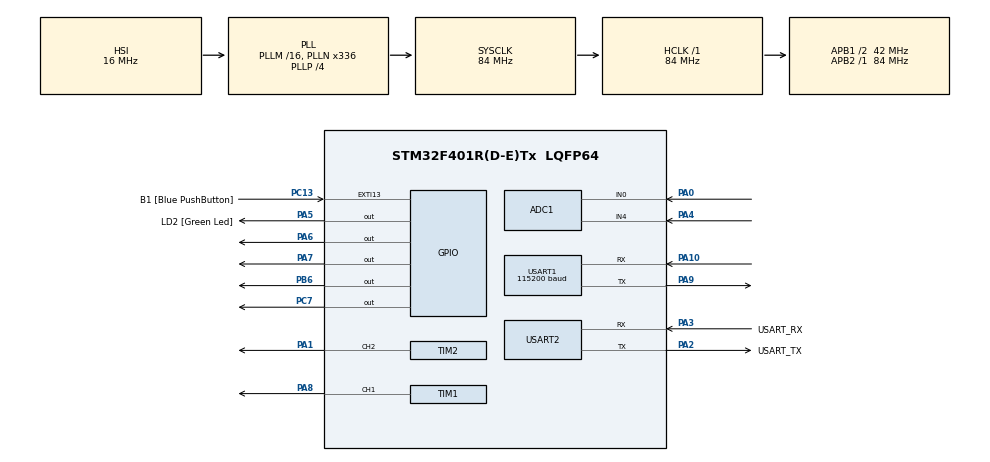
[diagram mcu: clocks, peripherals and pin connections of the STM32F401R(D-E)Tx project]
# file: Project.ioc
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ADC1.Channel-0\#ChannelRegularConversion=ADC_CHANNEL_4
ADC1.Channel-1\#ChannelRegularConversion=ADC_CHANNEL_0
ADC1.ContinuousConvMode=ENABLE
ADC1.ExternalTrigConv=ADC_EXTERNALTRIGCONV_T1_CC1
ADC1.NbrOfConversion=2
ADC1.NbrOfConversionFlag=1
ADC1.Rank-0\#ChannelRegularConversion=1
ADC1.Rank-1\#ChannelRegularConversion=2
ADC1.SamplingTime-0\#ChannelRegularConversion=ADC_SAMPLETIME_15CYCLES
ADC1.SamplingTime-1\#ChannelRegularConversion=ADC_SAMPLETIME_144CYCLES
ADC1.ScanConvMode=ENABLE
ADC1.master=1
Dma.ADC1.0.Direction=DMA_PERIPH_TO_MEMORY
Dma.ADC1.0.FIFOMode=DMA_FIFOMODE_DISABLE
Dma.ADC1.0.Instance=DMA2_Stream0
Dma.ADC1.0.MemDataAlignment=DMA_MDATAALIGN_WORD
Dma.ADC1.0.MemInc=DMA_MINC_ENABLE
Dma.ADC1.0.Mode=DMA_CIRCULAR
Dma.ADC1.0.PeriphDataAlignment=DMA_PDATAALIGN_WORD
Dma.ADC1.0.PeriphInc=DMA_PINC_DISABLE
Dma.ADC1.0.Priority=DMA_PRIORITY_LOW
Dma.Request0=ADC1
Mcu.Family=STM32F4
Mcu.Name=STM32F401R(D-E)Tx
Mcu.Package=LQFP64
NVIC.ADC_IRQn=true\:0\:0\:false\:false\:true\:true\:true\:true
NVIC.DMA2_Stream0_IRQn=true\:0\:0\:false\:false\:true\:false\:true\:true
NVIC.EXTI15_10_IRQn=true\:0\:0\:false\:false\:true\:true\:true\:true
NVIC.PriorityGroup=NVIC_PRIORITYGROUP_4
NVIC.TIM1_BRK_TIM9_IRQn=true\:0\:0\:false\:false\:true\:true\:true\:true
NVIC.TIM1_CC_IRQn=true\:0\:0\:false\:false\:true\:true\:true\:true
NVIC.TIM1_TRG_COM_TIM11_IRQn=true\:0\:0\:false\:false\:true\:true\:true\:true
NVIC.TIM1_UP_TIM10_IRQn=true\:0\:0\:false\:false\:true\:true\:true\:true
PA0-WKUP.Signal=ADCx_IN0
PA1.Signal=S_TIM2_CH2
PA10.Mode=Asynchronous
PA10.Signal=USART1_RX
PA13.GPIO_Label=TMS
PA13.Mode=Trace_Asynchronous_SW
PA13.Signal=SYS_JTMS-SWDIO
PA14.GPIO_Label=TCK
PA14.Mode=Trace_Asynchronous_SW
PA14.Signal=SYS_JTCK-SWCLK
PA2.GPIO_Label=USART_TX
PA2.GPIO_Mode=GPIO_MODE_AF_PP
PA2.GPIO_PuPd=GPIO_NOPULL
PA2.GPIO_Speed=GPIO_SPEED_FREQ_LOW
PA2.Mode=Asynchronous
PA2.Signal=USART2_TX
PA3.GPIO_Label=USART_RX
PA3.GPIO_Mode=GPIO_MODE_AF_PP
PA3.GPIO_PuPd=GPIO_NOPULL
PA3.GPIO_Speed=GPIO_SPEED_FREQ_LOW
PA3.Mode=Asynchronous
PA3.Signal=USART2_RX
PA4.Signal=ADCx_IN4
PA5.GPIO_Label=LD2 [Green Led]
PA5.GPIO_Mode=GPIO_MODE_OUTPUT_PP
PA5.GPIO_PuPd=GPIO_NOPULL
PA5.GPIO_Speed=GPIO_SPEED_FREQ_LOW
PA5.Signal=GPIO_Output
PA6.Signal=GPIO_Output
PA7.Signal=GPIO_Output
PA8.Signal=S_TIM1_CH1
PA9.Mode=Asynchronous
PA9.Signal=USART1_TX
PB3.GPIO_Label=SWO
PB3.Mode=Trace_Asynchronous_SW
PB3.Signal=SYS_JTDO-SWO
PB6.Signal=GPIO_Output
PC13-ANTI_TAMP.GPIO_Label=B1 [Blue PushButton]
PC13-ANTI_TAMP.GPIO_ModeDefaultEXTI=GPIO_MODE_IT_FALLING
PC13-ANTI_TAMP.GPIO_PuPd=GPIO_NOPULL
PC13-ANTI_TAMP.Signal=GPXTI13
PC14-OSC32_IN.Mode=LSE-External-Oscillator
PC14-OSC32_IN.Signal=RCC_OSC32_IN
PC15-OSC32_OUT.Mode=LSE-External-Oscillator
PC15-OSC32_OUT.Signal=RCC_OSC32_OUT
PC7.Signal=GPIO_Output
PH0\ -\ OSC_IN.Mode=HSE-External-Clock-Source
PH0\ -\ OSC_IN.Signal=RCC_OSC_IN
PH1\ -\ OSC_OUT.Mode=HSE-External-Clock-Source
PH1\ -\ OSC_OUT.Signal=RCC_OSC_OUT
ProjectManager.HeapSize=0x200
ProjectManager.StackSize=0x400
ProjectManager.TargetToolchain=STM32CubeIDE
RCC.48MHZClocksFreq_Value=48000000
RCC.AHBFreq_Value=84000000
RCC.APB1CLKDivider=RCC_HCLK_DIV2
RCC.APB1Freq_Value=42000000
RCC.APB1TimFreq_Value=84000000
RCC.APB2Freq_Value=84000000
RCC.APB2TimFreq_Value=84000000
RCC.CortexFreq_Value=84000000
RCC.HCLKFreq_Value=84000000
RCC.HSE_VALUE=8000000
RCC.HSI_VALUE=16000000
RCC.PLLN=336
RCC.PLLP=RCC_PLLP_DIV4
RCC.PLLQ=7
RCC.SYSCLKFreq_VALUE=84000000
RCC.SYSCLKSource=RCC_SYSCLKSOURCE_PLLCLK
RCC.VCOOutputFreq_Value=336000000
SH.ADCx_IN0.0=ADC1_IN0,IN0
SH.ADCx_IN4.0=ADC1_IN4,IN4
SH.S_TIM1_CH1.0=TIM1_CH1,Output Compare1 CH1
SH.S_TIM2_CH2.0=TIM2_CH2,PWM Generation2 CH2
TIM1.Channel-Output\ Compare1\ CH1=TIM_CHANNEL_1
TIM1.OCMode_1=TIM_OCMODE_TOGGLE
TIM1.Period=99
TIM1.Prescaler=839
TIM1.Pulse-Output\ Compare1\ CH1=1
TIM2.Channel-PWM\ Generation2\ CH2=TIM_CHANNEL_2
TIM2.Period=99
TIM2.Prescaler=839
USART1.BaudRate=115200
USART1.VirtualMode=VM_ASYNC
USART2.VirtualMode=VM_ASYNC
VP_TIM1_VS_ClockSourceINT.Mode=Internal
VP_TIM2_VS_ClockSourceINT.Mode=Internal
board=NUCLEO-F401RE

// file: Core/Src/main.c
/* USER CODE BEGIN Header */
/**
 ******************************************************************************
 * @file           : main.c
 * @brief          : Main program body
 ******************************************************************************
 * @attention
 *
 * Copyright (c) 2025 STMicroelectronics.
 * All rights reserved.
 *
 * This software is licensed under terms that can be found in the LICENSE file
 * in the root directory of this software component.
 * If no LICENSE file comes with this software, it is provided AS-IS.
 *
 ******************************************************************************
 */
/* USER CODE END Header */
#include "main.h"

/* USER CODE BEGIN PTD */
typedef enum
{
  STATE_IDLE,       // รอการกดปุ่ม (วัดหัวใจ CH1)
  STATE_RECORDING,  // กำลังรับเสียง (วัดไมค์ CH2)
  STATE_PROCESSING, // จำลองการประมวลผล
  STATE_RESULT      // แสดงผลลัพธ์
} SystemState_t;
/* USER CODE END PTD */

ADC_HandleTypeDef hadc1;
DMA_HandleTypeDef hdma_adc1;

TIM_HandleTypeDef htim1;
TIM_HandleTypeDef htim2;

UART_HandleTypeDef huart1;
UART_HandleTypeDef huart2;

/* USER CODE BEGIN PV */
volatile SystemState_t currentState = STATE_IDLE;
static char uart_buf[64];
static uint32_t t_ms = 0;

// --- DMA BUFFER ---
// [0] = Microphone, [1] = Heartbeat
uint32_t adc_buffer[2];

// --- MICROPHONE VARIABLES ---
uint32_t mic_max = 0;
uint32_t mic_min = 4095;
uint32_t mic_val = 0;       // The final "Volume" value
uint32_t mic_last_reset = 0; // Timer for the 50ms window
int flag = 0;

// --- TALK DETECTION SETTINGS ---
#define MIC_THRESHOLD  500   // Volume above this = Talking (Tune this!)
#define HANG_TIME_MS   7000  // How long to wait before deciding speech stopped

// --- TALK DETECTION VARIABLES ---
uint8_t is_talking = 0;       // The final output: 1 = Talking, 0 = Quiet
uint32_t silence_timer = 0;   // Timer to track silence

/* ===== BPM Variables ===== */
static float dc = 0.0f; // DC tracker
static float y = 0.0f;  // ค่ากรองแล้ว (filt)
static float y_prev = 0.0f;
static float thr_ema = 0.0f;   // ฐานสำหรับคำนวณ threshold
static uint8_t peak_armed = 0; // เข้าโซนเหนือ threshold แล้ว รอหล่นข้าม low-threshold เพื่อนับ
static uint8_t refractory = 0; // กันเด้ง
static uint32_t ref_start_ms = 0;
static uint32_t last_peak_ms = 0;
static float bpm = 0.0f;

/* ===== Statistics Variables ===== */
float bpm_buffer[30]; // Circular buffer สำหรับ Baseline
int bpm_idx = 0;
int bpm_count_base = 0;

float baseline_mean = 0.0f; // u
float baseline_std = 0.0f;  // sigma

float response_sum = 0.0f;  // ผลรวม BPM ตอน Recording
int response_count = 0;     // n

/* ===== Other Config ===== */
#define ALPHA_DC 0.01f
#define ALPHA_LP 0.75f

#define THR_SCALE_HI 0.90f // threshold บน (เข้มขึ้นเพื่อลดนับซ้ำ)
#define THR_SCALE_LO 0.40f // threshold ล่าง = สัดส่วนของ threshold บน
#define REFRACT_MS 450     // กันเด้ง 300ms
#define IBI_MIN_MS 350     // 60000/171BPM ~ 350ms  (กัน BPM สูงเกิน)
#define IBI_MAX_MS 2000    // 30 BPM

#define BPM_SMOOTH_A 0.85f // smooth: bpm = A*bpm + (1-A)*bpm_raw
#define BUZZER_VOLUME 0.5f //[0.01-0.001]

#define NOTE_B3 247
#define NOTE_C4 700
#define TIM_FREQ 60000000
static volatile uint8_t beep_req = 0;    // ขอให้บี๊บ 1 ครั้ง
static volatile uint32_t beep_until = 0; // เวลาที่จะหยุดบี๊บ
#define BEEP_MS 60
int now = 0;
int prev = 0; // ระยะเวลาบี๊บ 60ms
/* USER CODE END PV */

void SystemClock_Config(void);
static void MX_GPIO_Init(void);
static void MX_DMA_Init(void);
static void MX_USART2_UART_Init(void);
static void MX_ADC1_Init(void);
static void MX_TIM1_Init(void);
static void MX_TIM2_Init(void);
static void MX_USART1_UART_Init(void);
/* USER CODE BEGIN PFP */
int Read_Mic_Polling(void);
/* USER CODE END PFP */

/* USER CODE BEGIN 0 */
// char rx_data[1] = 'A';
char state_str[20] = "idle"; // ตั้งค่าเริ่มต้นกันเหนียว
void Update_State_String(SystemState_t state){
	switch(state)
	    {
	        case STATE_IDLE:       sprintf(state_str, "IDLE");       break;
	        case STATE_RECORDING:  sprintf(state_str, "RECORDING");  break;
	        case STATE_PROCESSING: sprintf(state_str, "PROCESSING"); break;
	        case STATE_RESULT:     sprintf(state_str, "RESULT");     break;
	        default:               sprintf(state_str, "UNKNOWN");    break;
	    }
}

int presForFrequency(int frequency)
{
  if (frequency <= 0)
    return 0;
  /* PSC = TIM_FREQ / ((ARR+1) * f) - 1 */
  return (int)((TIM_FREQ / ((uint64_t)(htim1.Init.Period + 1) * (uint64_t)frequency)) - 1);
}
void Calculate_Baseline(void)
{
    if (bpm_count_base < 2) {
        baseline_mean = 80.0f; // ค่า Default กัน Error
        baseline_std = 5.0f;
        return;
    }

    // Mean (u)
    float sum = 0.0f;
    for(int i=0; i<bpm_count_base; i++) {
    	sum += bpm_buffer[i];
    }
    baseline_mean = sum / bpm_count_base;

    // StdDev (sigma)
    float sum_sq = 0.0f;
    for(int i=0; i<bpm_count_base; i++) {
        float diff = bpm_buffer[i] - baseline_mean;
        sum_sq += diff * diff;
    }
    baseline_std = sqrt(sum_sq / bpm_count_base);

    if(baseline_std == 0) baseline_std = 1.0f;
}

void HAL_GPIO_EXTI_Callback(uint16_t GPIO_Pin)
{
  now = HAL_GetTick();
  if (now - prev >= 50)
  {
    prev = now;
    if (currentState == STATE_IDLE)
    {

      Calculate_Baseline();
      currentState = STATE_RECORDING;
    }

  }
}

void HAL_ADC_ConvCpltCallback(ADC_HandleTypeDef *hadc)
{
  if (hadc->Instance != ADC1) return;

  // อ่านค่า ADC จาก DMA Buffer
  // เราอ่านมารอไว้ก่อน แต่จะยังไม่คำนวณถ้าเวลายังไม่ถึง
  uint16_t raw_mic = (uint16_t)adc_buffer[0];
  uint16_t raw_heart = (uint16_t)adc_buffer[1];

  t_ms = HAL_GetTick();

  // ============================================================
  // [FIX] LIMIT CALCULATION RATE TO ~100Hz (Every 10ms)
  // ============================================================
  static uint32_t last_dsp_time = 0;

  // ถ้าผ่านไปไม่ถึง 10ms ให้ข้ามการคำนวณไปเลย (เพื่อลดความเร็ว Loop)
  if (t_ms - last_dsp_time < 10)
  {
      return;
  }
  last_dsp_time = t_ms; // อัปเดตเวลาล่าสุดที่คำนวณ

  // --- จากจุดนี้ไปคือ Code เดิมของคุณ ---
  // พอเราจำกัดเวลาเข้า Loop นี้ให้เหลือ 10ms ต่อครั้ง
  // สูตร ALPHA_DC และ ALPHA_LP ของคุณจะกลับมาทำงานได้ถูกต้องทันทีครับ

  // ==========================================
  // PART A: MICROPHONE LOGIC (Talking Detect)
  // ==========================================

  // 1. Update Min/Max
  if (raw_mic > mic_max) mic_max = raw_mic;
  if (raw_mic < mic_min) mic_min = raw_mic;

  // 2. Every 50ms check the volume
  // (Logic เดิมของคุณตรงนี้โอเคแล้ว แต่มันจะทำงานแม่นขึ้นเพราะ Loop นิ่งขึ้น)
  if (t_ms - mic_last_reset > 50)
  {
    mic_val = mic_max - mic_min;
    if(currentState == STATE_RECORDING ){
    	if (mic_val > MIC_THRESHOLD)
    	    {
    	      is_talking = 1;
    	      silence_timer = t_ms;
    	      flag = 1;
    	    }
    	else
    	    {
    	      if (t_ms - silence_timer > HANG_TIME_MS && flag != 0)
				  {
					is_talking = 0;
					flag = 0;
					currentState = STATE_PROCESSING;
				  }
    	    }
    }

    mic_max = 0;
    mic_min = 4095;
    mic_last_reset = t_ms;
  }

  // ==========================================
  // PART B: HEARTBEAT LOGIC
  // ==========================================

    float rawf = (float)raw_heart;
    float err = rawf - dc;
    dc += ALPHA_DC * err;
    float sig = rawf - dc;
    y += ALPHA_LP * (sig - y);

    float ay = (y >= 0) ? y : -y;
    thr_ema = 0.995f * thr_ema + 0.005f * ay;

    float thr_hi = THR_SCALE_HI * thr_ema;
    float thr_lo = THR_SCALE_LO * thr_hi;

    if (refractory && (t_ms - ref_start_ms) > REFRACT_MS)
    {
      refractory = 0;
    }

    float dy = y - y_prev;

    if (!refractory)
    {
      if (!peak_armed)
      {
        if (y > thr_hi)
        {
          peak_armed = 1;
        }
      }
      else
      {
        if (y < thr_lo && dy < 0.0f)
        {
          uint32_t now = t_ms;
          if (last_peak_ms != 0)
          {
            uint32_t ibi = now - last_peak_ms;

            // [OPTIONAL] ปรับช่วง IBI ให้กว้างขึ้นนิดหน่อยเผื่อหัวใจเต้นเร็ว/ช้าผิดปกติ
            if (ibi >= 300 && ibi <= 2000)
            {
              float bpm_raw = 60000.0f / (float)ibi;
              bpm = BPM_SMOOTH_A * bpm + (1.0f - BPM_SMOOTH_A) * bpm_raw;

              if (currentState == STATE_IDLE)
              {
                  bpm_buffer[bpm_idx] = bpm;
                  bpm_idx = (bpm_idx + 1) % 30;
                  if(bpm_count_base < 30) bpm_count_base++;
               }
               // อย่าลืม Logic นับ Response ใน State Recording
               else if (currentState == STATE_RECORDING)
               {
                  response_sum += bpm;
                  response_count++;
               }
            }
          }
          last_peak_ms = now;

          beep_req = 1;
          beep_until = t_ms + BEEP_MS;

          refractory = 1;
          ref_start_ms = now;
          peak_armed = 0;
        }
      }
    }

    y_prev = y;

    // ส่ง UART ทุกครั้งที่คำนวณเสร็จ (ซึ่งตอนนี้คือทุก 10ms = 100Hz พอดี ไม่รกเกินไป)
//    int n = snprintf(uart_buf, sizeof(uart_buf),
//                       "%lu,%u,%s,%.1f,%lu,%u\r\n",
//                       t_ms, raw_heart, state_str, bpm, mic_val, is_talking);
//
    int n = snprintf(uart_buf, sizeof(uart_buf),"%s,%d,%.1f,%d\r\n",state_str,-1,bpm, is_talking);
    HAL_UART_Transmit(&huart2, (uint8_t *)uart_buf, n, 10);
    HAL_UART_Transmit(&huart1, (uint8_t *)uart_buf, n, 10); // ปิดอันนี้ถ้าไม่ได้ใช้ จะได้ไม่หน่วง
}
/* USER CODE END 0 */

int main(void)
{

  /* MCU Configuration--------------------------------------------------------*/

  /* Reset of all peripherals, Initializes the Flash interface and the Systick. */
  HAL_Init();

  /* USER CODE BEGIN Init */
  int state_timer = 0;
  /* USER CODE END Init */

  /* Configure the system clock */
  SystemClock_Config();

  /* Initialize all configured peripherals */
  MX_GPIO_Init();
  MX_DMA_Init();
  MX_USART2_UART_Init();
  MX_ADC1_Init();
  MX_TIM1_Init();
  MX_TIM2_Init();
  MX_USART1_UART_Init();
  /* USER CODE BEGIN 2 */
  HAL_TIM_Base_Start_IT(&htim1);
//  HAL_ADC_Start_IT(&hadc1);
  HAL_TIM_OC_Start_IT(&htim1, TIM_CHANNEL_1);
  HAL_TIM_PWM_Start(&htim2, TIM_CHANNEL_2);
  __HAL_TIM_SET_COMPARE(&htim2, TIM_CHANNEL_2, (uint32_t)(htim2.Init.Period * BUZZER_VOLUME));

  if (HAL_ADC_Start_DMA(&hadc1, adc_buffer, 2) != HAL_OK)
  {
      // If this fails, blink LED rapidly to warn user
      while(1) {
          HAL_GPIO_TogglePin(LD2_GPIO_Port, LD2_Pin);
          HAL_Delay(100);
      }
  }

  printf("System Initialized.\r\n");
  printf("Current State: IDLE. Press Blue Button to Record.\r\n");

  /* USER CODE END 2 */

  /* Infinite loop */
  while (1)
  {

    /* USER CODE BEGIN 3 */
	  switch(currentState)
	  	    {
	  	        case STATE_IDLE:       sprintf(state_str, "idle");       break;
	  	        case STATE_RECORDING:  sprintf(state_str, "recording");  break;
	  	        case STATE_PROCESSING: sprintf(state_str, "processing"); break;
	  	        case STATE_RESULT:     sprintf(state_str, "result");     break;
	  	        default:               sprintf(state_str, "default");    break;
	  	    }
    uint32_t now = HAL_GetTick();
    if (beep_req)
        {
          if (now < beep_until)
          {
            // 1. ตั้งความถี่
            __HAL_TIM_SET_PRESCALER(&htim2, presForFrequency(500));
            __HAL_TIM_SET_COUNTER(&htim2, 0);
            HAL_Delay(10);

            // 2. [เพิ่ม] เปิดเสียง (Volume 50%)
          }
          else
          {
            // 1. [สำคัญ] ปิดเสียง (Volume 0%)
        	__HAL_TIM_SET_PRESCALER(&htim2, presForFrequency(0));
        	__HAL_TIM_SET_COUNTER(&htim2, 0);

            beep_req = 0;
          }
        }
    switch (currentState)
    {
    /* --- STATE 1: IDLE (วัดหัวใจทำงานอยู่เบื้องหลัง) --- */
      case STATE_IDLE:
    	  HAL_GPIO_WritePin(GPIOA, GPIO_PIN_7, GPIO_PIN_RESET);
    	  HAL_GPIO_WritePin(GPIOA, GPIO_PIN_6, GPIO_PIN_RESET);
    	  HAL_GPIO_WritePin(GPIOB, GPIO_PIN_6, GPIO_PIN_RESET); // ปิดไฟ Recording

    	  // เปิดไฟ Idle
    	  HAL_GPIO_WritePin(GPIOC, GPIO_PIN_7, GPIO_PIN_SET);

        break;

      /* --- STATE 2: RECORDING (วัดไมค์ IN2) --- */
      case STATE_RECORDING:
    	  HAL_GPIO_WritePin(GPIOC, GPIO_PIN_7, GPIO_PIN_RESET); // ดับไฟ Idle
    	  HAL_GPIO_WritePin(GPIOB, GPIO_PIN_6, GPIO_PIN_SET);   // ติดไฟ Talking
    	  break;

      case STATE_PROCESSING:
    	HAL_ADC_Stop_DMA(&hadc1);
    	HAL_GPIO_WritePin(GPIOB, GPIO_PIN_6, GPIO_PIN_RESET);
    	HAL_GPIO_WritePin(GPIOA, GPIO_PIN_7, GPIO_PIN_SET);
    	int n = snprintf(uart_buf, sizeof(uart_buf),"%s,%d,%.1f,%d\r\n", state_str,-1,0.0,0);
    	HAL_UART_Transmit(&huart2, (uint8_t *)uart_buf, n, 10);
    	HAL_UART_Transmit(&huart1, (uint8_t *)uart_buf, n, 10); // ปิดอันนี้ถ้าไม่ได้ใช้ จะได้ไม่หน่วง
    	HAL_Delay(100);
        if (state_timer == 0)
        {
          state_timer = now; // เริ่มจับเวลา
          // เริ่ม Interrupt วัดหัวใจ
//          HAL_ADC_Start_IT(&hadc1);
          // ไฟกระพริบถี่ๆ บอกสถานะ Processing
          HAL_GPIO_WritePin(LD2_GPIO_Port, LD2_Pin, GPIO_PIN_SET);

        }

        // 2. รอจนครบ 10 วินาที (แบบไม่บล็อกโปรแกรมอื่น)
        if (now - state_timer > 10000)
        {
          // ครบ 10 วิ -> หยุดวัดหัวใจ
//          HAL_ADC_Stop_IT(&hadc1);

          // รีเซ็ต timer สำหรับรอบหน้า
          state_timer = 0;

          // ไปหน้าแสดงผล
          currentState = STATE_RESULT;
        }
        break;
      case STATE_RESULT:
      HAL_GPIO_WritePin(GPIOA, GPIO_PIN_7, GPIO_PIN_RESET);
      HAL_GPIO_WritePin(GPIOA, GPIO_PIN_6, GPIO_PIN_SET);

      float response_mean = 0;
    	if(response_count > 0){
    		response_mean = response_sum / response_count;
    	}

    	// Standard Error
    	float std_error = baseline_std / sqrt((float)response_count);
    	if(std_error == 0) {
    		std_error = 0.001f;
    	}

    	// Z-Score
    	float z_score = (response_mean - baseline_mean) / std_error;
    	if (z_score > 1.645f){
    		int n = snprintf(uart_buf, sizeof(uart_buf),"%s,%d,%.1f,%d\r\n", state_str,0,0.0,0);
    		HAL_UART_Transmit(&huart1, (uint8_t *)uart_buf, n, 10); // ปิดอันนี้ถ้าไม่ได้ใช้ จะได้ไม่หน่วง
//    		HAL_UART_Transmit(&huart2, (uint8_t *)uart_buf, n, 10);

    		__HAL_TIM_SET_PRESCALER(&htim2, presForFrequency(1000));
    		__HAL_TIM_SET_COUNTER(&htim2, 0);
    		HAL_Delay(1000);
    		__HAL_TIM_SET_PRESCALER(&htim2, presForFrequency(0));
    		__HAL_TIM_SET_COUNTER(&htim2, 0);
    		HAL_Delay(1000);
    		__HAL_TIM_SET_PRESCALER(&htim2, presForFrequency(1000));
    		__HAL_TIM_SET_COUNTER(&htim2, 0);
    		HAL_Delay(1000);
    		__HAL_TIM_SET_PRESCALER(&htim2, presForFrequency(0));
    		__HAL_TIM_SET_COUNTER(&htim2, 0);

    	}
    	else{
    		int n = snprintf(uart_buf, sizeof(uart_buf),"%s,%d,%.1f,%d\r\n", state_str,1,0.0,0);
//    		HAL_UART_Transmit(&huart2, (uint8_t *)uart_buf, n, 10);
    		HAL_UART_Transmit(&huart1, (uint8_t *)uart_buf, n, 10); // ปิดอันนี้ถ้าไม่ได้ใช้ จะได้ไม่หน่วง
    		__HAL_TIM_SET_PRESCALER(&htim2, presForFrequency(250));
    		__HAL_TIM_SET_COUNTER(&htim2, 0);
    		HAL_Delay(1000);
    		__HAL_TIM_SET_PRESCALER(&htim2, presForFrequency(0));
    		__HAL_TIM_SET_COUNTER(&htim2, 0);
    		HAL_Delay(1000);

    	}
    	HAL_Delay(5000);

    	HAL_ADC_Start_DMA(&hadc1, adc_buffer, 2);
        currentState = STATE_IDLE;
      }
  }
  /* USER CODE END 3 */
}

void SystemClock_Config(void)
{
  RCC_OscInitTypeDef RCC_OscInitStruct = {0};
  RCC_ClkInitTypeDef RCC_ClkInitStruct = {0};

  /** Configure the main internal regulator output voltage
  */
  __HAL_RCC_PWR_CLK_ENABLE();
  __HAL_PWR_VOLTAGESCALING_CONFIG(PWR_REGULATOR_VOLTAGE_SCALE2);

  /** Initializes the RCC Oscillators according to the specified parameters
  * in the RCC_OscInitTypeDef structure.
  */
  RCC_OscInitStruct.OscillatorType = RCC_OSCILLATORTYPE_HSI;
  RCC_OscInitStruct.HSIState = RCC_HSI_ON;
  RCC_OscInitStruct.HSICalibrationValue = RCC_HSICALIBRATION_DEFAULT;
  RCC_OscInitStruct.PLL.PLLState = RCC_PLL_ON;
  RCC_OscInitStruct.PLL.PLLSource = RCC_PLLSOURCE_HSI;
  RCC_OscInitStruct.PLL.PLLM = 16;
  RCC_OscInitStruct.PLL.PLLN = 336;
  RCC_OscInitStruct.PLL.PLLP = RCC_PLLP_DIV4;
  RCC_OscInitStruct.PLL.PLLQ = 7;
  if (HAL_RCC_OscConfig(&RCC_OscInitStruct) != HAL_OK)
  {
    Error_Handler();
  }

  /** Initializes the CPU, AHB and APB buses clocks
  */
  RCC_ClkInitStruct.ClockType = RCC_CLOCKTYPE_HCLK|RCC_CLOCKTYPE_SYSCLK
                              |RCC_CLOCKTYPE_PCLK1|RCC_CLOCKTYPE_PCLK2;
  RCC_ClkInitStruct.SYSCLKSource = RCC_SYSCLKSOURCE_PLLCLK;
  RCC_ClkInitStruct.AHBCLKDivider = RCC_SYSCLK_DIV1;
  RCC_ClkInitStruct.APB1CLKDivider = RCC_HCLK_DIV2;
  RCC_ClkInitStruct.APB2CLKDivider = RCC_HCLK_DIV1;

  if (HAL_RCC_ClockConfig(&RCC_ClkInitStruct, FLASH_LATENCY_2) != HAL_OK)
  {
    Error_Handler();
  }
}

static void MX_ADC1_Init(void)
{

  ADC_ChannelConfTypeDef sConfig = {0};

  /** Configure the global features of the ADC (Clock, Resolution, Data Alignment and number of conversion)
  */
  hadc1.Instance = ADC1;
  hadc1.Init.ClockPrescaler = ADC_CLOCK_SYNC_PCLK_DIV4;
  hadc1.Init.Resolution = ADC_RESOLUTION_12B;
  hadc1.Init.ScanConvMode = ENABLE;
  hadc1.Init.ContinuousConvMode = ENABLE;
  hadc1.Init.DiscontinuousConvMode = DISABLE;
  hadc1.Init.ExternalTrigConvEdge = ADC_EXTERNALTRIGCONVEDGE_RISING;
  hadc1.Init.ExternalTrigConv = ADC_EXTERNALTRIGCONV_T1_CC1;
  hadc1.Init.DataAlign = ADC_DATAALIGN_RIGHT;
  hadc1.Init.NbrOfConversion = 2;
  hadc1.Init.DMAContinuousRequests = ENABLE;
  hadc1.Init.EOCSelection = ADC_EOC_SINGLE_CONV;
  if (HAL_ADC_Init(&hadc1) != HAL_OK)
  {
    Error_Handler();
  }

  /** Configure for the selected ADC regular channel its corresponding rank in the sequencer and its sample time.
  */
  sConfig.Channel = ADC_CHANNEL_4;
  sConfig.Rank = 1;
  sConfig.SamplingTime = ADC_SAMPLETIME_15CYCLES;
  if (HAL_ADC_ConfigChannel(&hadc1, &sConfig) != HAL_OK)
  {
    Error_Handler();
  }

  /** Configure for the selected ADC regular channel its corresponding rank in the sequencer and its sample time.
  */
  sConfig.Channel = ADC_CHANNEL_0;
  sConfig.Rank = 2;
  sConfig.SamplingTime = ADC_SAMPLETIME_144CYCLES;
  if (HAL_ADC_ConfigChannel(&hadc1, &sConfig) != HAL_OK)
  {
    Error_Handler();
  }

}

static void MX_TIM1_Init(void)
{

  TIM_ClockConfigTypeDef sClockSourceConfig = {0};
  TIM_MasterConfigTypeDef sMasterConfig = {0};
  TIM_OC_InitTypeDef sConfigOC = {0};
  TIM_BreakDeadTimeConfigTypeDef sBreakDeadTimeConfig = {0};

  htim1.Instance = TIM1;
  htim1.Init.Prescaler = 839;
  htim1.Init.CounterMode = TIM_COUNTERMODE_UP;
  htim1.Init.Period = 99;
  htim1.Init.ClockDivision = TIM_CLOCKDIVISION_DIV1;
  htim1.Init.RepetitionCounter = 0;
  htim1.Init.AutoReloadPreload = TIM_AUTORELOAD_PRELOAD_DISABLE;
  if (HAL_TIM_Base_Init(&htim1) != HAL_OK)
  {
    Error_Handler();
  }
  sClockSourceConfig.ClockSource = TIM_CLOCKSOURCE_INTERNAL;
  if (HAL_TIM_ConfigClockSource(&htim1, &sClockSourceConfig) != HAL_OK)
  {
    Error_Handler();
  }
  if (HAL_TIM_OC_Init(&htim1) != HAL_OK)
  {
    Error_Handler();
  }
  sMasterConfig.MasterOutputTrigger = TIM_TRGO_RESET;
  sMasterConfig.MasterSlaveMode = TIM_MASTERSLAVEMODE_DISABLE;
  if (HAL_TIMEx_MasterConfigSynchronization(&htim1, &sMasterConfig) != HAL_OK)
  {
    Error_Handler();
  }
  sConfigOC.OCMode = TIM_OCMODE_TOGGLE;
  sConfigOC.Pulse = 1;
  sConfigOC.OCPolarity = TIM_OCPOLARITY_HIGH;
  sConfigOC.OCNPolarity = TIM_OCNPOLARITY_HIGH;
  sConfigOC.OCFastMode = TIM_OCFAST_DISABLE;
  sConfigOC.OCIdleState = TIM_OCIDLESTATE_RESET;
  sConfigOC.OCNIdleState = TIM_OCNIDLESTATE_RESET;
  if (HAL_TIM_OC_ConfigChannel(&htim1, &sConfigOC, TIM_CHANNEL_1) != HAL_OK)
  {
    Error_Handler();
  }
  sBreakDeadTimeConfig.OffStateRunMode = TIM_OSSR_DISABLE;
  sBreakDeadTimeConfig.OffStateIDLEMode = TIM_OSSI_DISABLE;
  sBreakDeadTimeConfig.LockLevel = TIM_LOCKLEVEL_OFF;
  sBreakDeadTimeConfig.DeadTime = 0;
  sBreakDeadTimeConfig.BreakState = TIM_BREAK_DISABLE;
  sBreakDeadTimeConfig.BreakPolarity = TIM_BREAKPOLARITY_HIGH;
  sBreakDeadTimeConfig.AutomaticOutput = TIM_AUTOMATICOUTPUT_DISABLE;
  if (HAL_TIMEx_ConfigBreakDeadTime(&htim1, &sBreakDeadTimeConfig) != HAL_OK)
  {
    Error_Handler();
  }
  HAL_TIM_MspPostInit(&htim1);

}

static void MX_TIM2_Init(void)
{

  TIM_ClockConfigTypeDef sClockSourceConfig = {0};
  TIM_MasterConfigTypeDef sMasterConfig = {0};
  TIM_OC_InitTypeDef sConfigOC = {0};

  htim2.Instance = TIM2;
  htim2.Init.Prescaler = 839;
  htim2.Init.CounterMode = TIM_COUNTERMODE_UP;
  htim2.Init.Period = 99;
  htim2.Init.ClockDivision = TIM_CLOCKDIVISION_DIV1;
  htim2.Init.AutoReloadPreload = TIM_AUTORELOAD_PRELOAD_DISABLE;
  if (HAL_TIM_Base_Init(&htim2) != HAL_OK)
  {
    Error_Handler();
  }
  sClockSourceConfig.ClockSource = TIM_CLOCKSOURCE_INTERNAL;
  if (HAL_TIM_ConfigClockSource(&htim2, &sClockSourceConfig) != HAL_OK)
  {
    Error_Handler();
  }
  if (HAL_TIM_PWM_Init(&htim2) != HAL_OK)
  {
    Error_Handler();
  }
  sMasterConfig.MasterOutputTrigger = TIM_TRGO_RESET;
  sMasterConfig.MasterSlaveMode = TIM_MASTERSLAVEMODE_DISABLE;
  if (HAL_TIMEx_MasterConfigSynchronization(&htim2, &sMasterConfig) != HAL_OK)
  {
    Error_Handler();
  }
  sConfigOC.OCMode = TIM_OCMODE_PWM1;
  sConfigOC.Pulse = 0;
  sConfigOC.OCPolarity = TIM_OCPOLARITY_HIGH;
  sConfigOC.OCFastMode = TIM_OCFAST_DISABLE;
  if (HAL_TIM_PWM_ConfigChannel(&htim2, &sConfigOC, TIM_CHANNEL_2) != HAL_OK)
  {
    Error_Handler();
  }
  HAL_TIM_MspPostInit(&htim2);

}

static void MX_USART1_UART_Init(void)
{

  huart1.Instance = USART1;
  huart1.Init.BaudRate = 115200;
  huart1.Init.WordLength = UART_WORDLENGTH_8B;
  huart1.Init.StopBits = UART_STOPBITS_1;
  huart1.Init.Parity = UART_PARITY_NONE;
  huart1.Init.Mode = UART_MODE_TX_RX;
  huart1.Init.HwFlowCtl = UART_HWCONTROL_NONE;
  huart1.Init.OverSampling = UART_OVERSAMPLING_16;
  if (HAL_UART_Init(&huart1) != HAL_OK)
  {
    Error_Handler();
  }

}

static void MX_USART2_UART_Init(void)
{

  huart2.Instance = USART2;
  huart2.Init.BaudRate = 115200;
  huart2.Init.WordLength = UART_WORDLENGTH_8B;
  huart2.Init.StopBits = UART_STOPBITS_1;
  huart2.Init.Parity = UART_PARITY_NONE;
  huart2.Init.Mode = UART_MODE_TX_RX;
  huart2.Init.HwFlowCtl = UART_HWCONTROL_NONE;
  huart2.Init.OverSampling = UART_OVERSAMPLING_16;
  if (HAL_UART_Init(&huart2) != HAL_OK)
  {
    Error_Handler();
  }

}

static void MX_DMA_Init(void)
{

  /* DMA controller clock enable */
  __HAL_RCC_DMA2_CLK_ENABLE();

  /* DMA interrupt init */
  /* DMA2_Stream0_IRQn interrupt configuration */
  HAL_NVIC_SetPriority(DMA2_Stream0_IRQn, 0, 0);
  HAL_NVIC_EnableIRQ(DMA2_Stream0_IRQn);

}

static void MX_GPIO_Init(void)
{
  GPIO_InitTypeDef GPIO_InitStruct = {0};

  /* GPIO Ports Clock Enable */
  __HAL_RCC_GPIOC_CLK_ENABLE();
  __HAL_RCC_GPIOH_CLK_ENABLE();
  __HAL_RCC_GPIOA_CLK_ENABLE();
  __HAL_RCC_GPIOB_CLK_ENABLE();

  /*Configure GPIO pin Output Level */
  HAL_GPIO_WritePin(GPIOA, LD2_Pin|GPIO_PIN_6|GPIO_PIN_7, GPIO_PIN_RESET);

  /*Configure GPIO pin Output Level */
  HAL_GPIO_WritePin(GPIOC, GPIO_PIN_7, GPIO_PIN_RESET);

  /*Configure GPIO pin Output Level */
  HAL_GPIO_WritePin(GPIOB, GPIO_PIN_6, GPIO_PIN_RESET);

  /*Configure GPIO pin : B1_Pin */
  GPIO_InitStruct.Pin = B1_Pin;
  GPIO_InitStruct.Mode = GPIO_MODE_IT_FALLING;
  GPIO_InitStruct.Pull = GPIO_NOPULL;
  HAL_GPIO_Init(B1_GPIO_Port, &GPIO_InitStruct);

  /*Configure GPIO pins : LD2_Pin PA6 PA7 */
  GPIO_InitStruct.Pin = LD2_Pin|GPIO_PIN_6|GPIO_PIN_7;
  GPIO_InitStruct.Mode = GPIO_MODE_OUTPUT_PP;
  GPIO_InitStruct.Pull = GPIO_NOPULL;
  GPIO_InitStruct.Speed = GPIO_SPEED_FREQ_LOW;
  HAL_GPIO_Init(GPIOA, &GPIO_InitStruct);

  /*Configure GPIO pin : PC7 */
  GPIO_InitStruct.Pin = GPIO_PIN_7;
  GPIO_InitStruct.Mode = GPIO_MODE_OUTPUT_PP;
  GPIO_InitStruct.Pull = GPIO_NOPULL;
  GPIO_InitStruct.Speed = GPIO_SPEED_FREQ_LOW;
  HAL_GPIO_Init(GPIOC, &GPIO_InitStruct);

  /*Configure GPIO pin : PB6 */
  GPIO_InitStruct.Pin = GPIO_PIN_6;
  GPIO_InitStruct.Mode = GPIO_MODE_OUTPUT_PP;
  GPIO_InitStruct.Pull = GPIO_NOPULL;
  GPIO_InitStruct.Speed = GPIO_SPEED_FREQ_LOW;
  HAL_GPIO_Init(GPIOB, &GPIO_InitStruct);

  /* EXTI interrupt init*/
  HAL_NVIC_SetPriority(EXTI15_10_IRQn, 0, 0);
  HAL_NVIC_EnableIRQ(EXTI15_10_IRQn);

}

void Error_Handler(void)
{
  __disable_irq();
  while (1)
  {
  }
}
